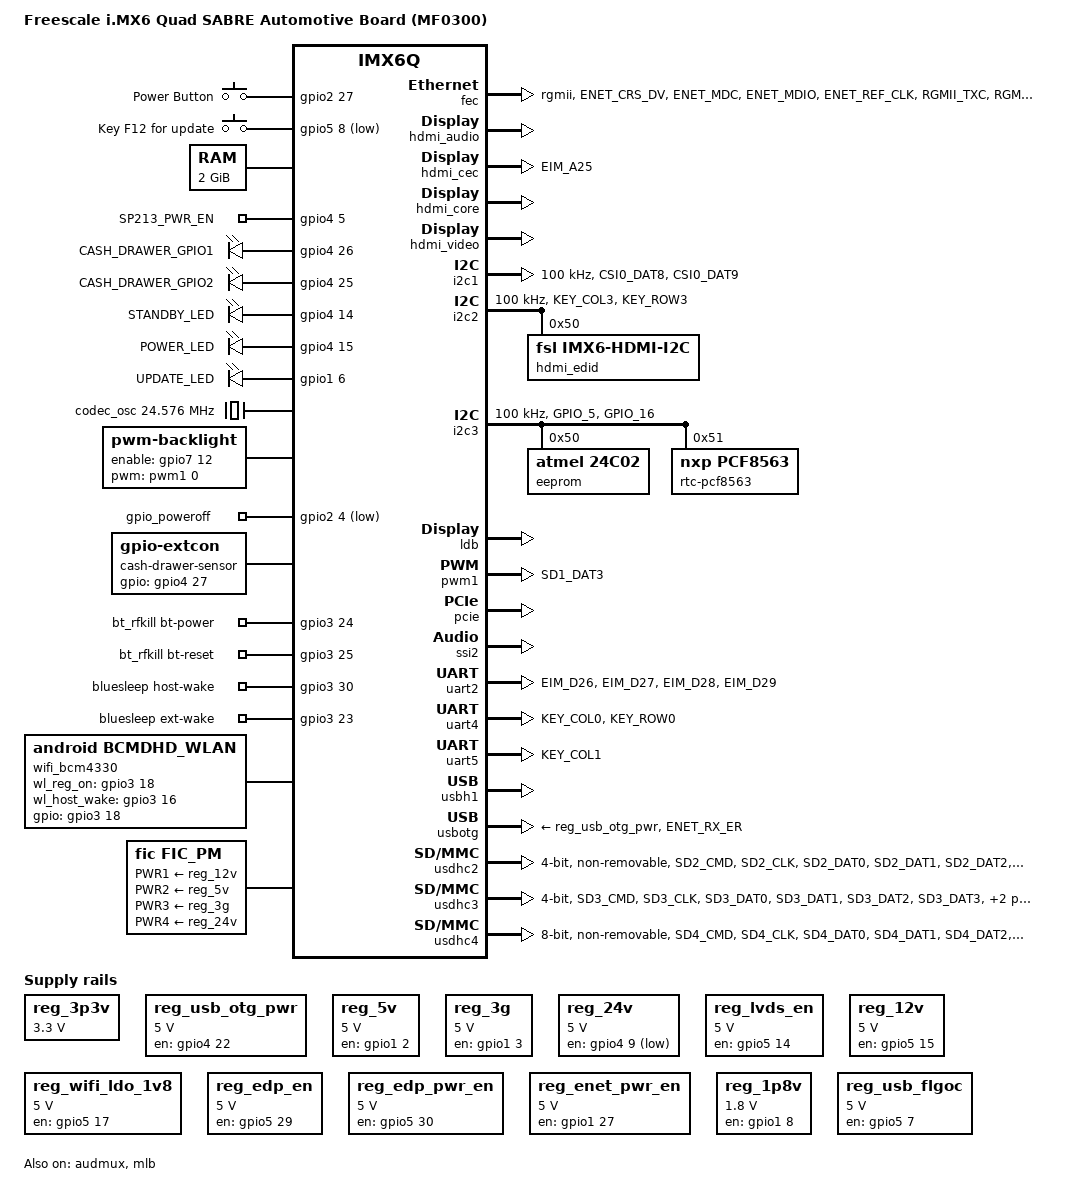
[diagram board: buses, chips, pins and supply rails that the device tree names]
/*
 * Copyright 2012-2015 Freescale Semiconductor, Inc.
 * Copyright 2011 Linaro Ltd.
 *
 * The code contained herein is licensed under the GNU General Public
 * License. You may obtain a copy of the GNU General Public License
 * Version 2 or later at the following locations:
 *
 * http://www.opensource.org/licenses/gpl-license.html
 * http://www.gnu.org/copyleft/gpl.html
 */

#include <dt-bindings/gpio/gpio.h>
#include <dt-bindings/input/input.h>

/ {

	model = "Freescale i.MX6 Quad SABRE Automotive Board (MF0300)";
	compatible = "fsl,imx6q-mf0300", "fsl,imx6q";

	aliases {
		mxcfb0 = &mxcfb1;
		mxcfb1 = &mxcfb2;
		mxcfb2 = &mxcfb3;
		mxcfb3 = &mxcfb4;
	};

	gpio-keys {
		compatible = "gpio-keys";
		pinctrl-names = "default";
		pinctrl-0 = <&pinctrl_gpio_keys>;

		/* Reconfig to power key in Android*/
		power {
			label = "Power Button";
			gpios = <&gpio2 27 GPIO_ACTIVE_HIGH>;
			linux,code = <116>; /* KEY_POWER */
			gpio-key,wakeup;
		};

		f12 {
			label = "Key F12 for update";
			gpios = <&gpio5 8 GPIO_ACTIVE_LOW>;
			linux,code = <KEY_F12>;
		};
	};

	memory:	memory {
		reg = <0x10000000 0x80000000>;
	};

	leds {
		compatible = "gpio-leds";
		pinctrl-names = "default";
		pinctrl-0 = <&pinctrl_gpio_leds>;

		sp213-en {
			label = "SP213_PWR_EN";
			gpios = <&gpio4 5 GPIO_ACTIVE_HIGH>;
		};

		cash-drawer-gpio1 {
			label = "CASH_DRAWER_GPIO1";
			gpios = <&gpio4 26 GPIO_ACTIVE_HIGH>;
			default-state = "on";
			retain-state-suspended;
		};

		cash-drawer-gpio2 {
			label = "CASH_DRAWER_GPIO2";
			gpios = <&gpio4 25 GPIO_ACTIVE_HIGH>;
			default-state = "on";
			retain-state-suspended;
		};

		stadnby-led {
			label = "STANDBY_LED";
			gpios = <&gpio4 14 GPIO_ACTIVE_HIGH>;
			default-state = "on";
			retain-state-suspended;
		};

		power-led {
			label = "POWER_LED";
			gpios = <&gpio4 15 GPIO_ACTIVE_HIGH>;
			default-state = "on";
			retain-state-suspended;
		};

		update-led {
			label = "UPDATE_LED";
			gpios = <&gpio1 6 GPIO_ACTIVE_HIGH>;
			default-state = "on";
			retain-state-suspended;
		};
	};

	clocks {
		codec_osc: anaclk2 {
			compatible = "fixed-clock";
			#clock-cells = <0>;
			clock-frequency = <24576000>;
		};
	};

	regulators {
		compatible = "simple-bus";
		#address-cells = <1>;
		#size-cells = <0>;

		reg_3p3v: 3p3v {
			compatible = "regulator-fixed";
			regulator-name = "3P3V";
			regulator-min-microvolt = <3300000>;
			regulator-max-microvolt = <3300000>;
			regulator-always-on;
		};

		reg_usb_otg_pwr: usb_otg_pwr@2 {
			compatible = "regulator-fixed";
			reg = <2>;
			regulator-name = "usb_otg_pwr";
			regulator-min-microvolt = <5000000>;
			regulator-max-microvolt = <5000000>;
			gpio = <&gpio4 22 GPIO_ACTIVE_HIGH>;
			enable-active-high;
		};

		reg_5v: 5v {
			compatible = "regulator-fixed";
			regulator-name = "5V";
			regulator-min-microvolt = <5000000>;
			regulator-max-microvolt = <5000000>;
			gpio = <&gpio1 2 GPIO_ACTIVE_HIGH>;
			enable-active-high;
			regulator-boot-on;
		};

		reg_3g: 3g {
			compatible = "regulator-fixed";
			regulator-name = "3G";
			regulator-min-microvolt = <5000000>;
			regulator-max-microvolt = <5000000>;
			gpio = <&gpio1 3 GPIO_ACTIVE_HIGH>;
			enable-active-high;
			regulator-boot-on;
		};

		reg_24v: 24v {
			compatible = "regulator-fixed";
			regulator-name = "24v";
			regulator-min-microvolt = <5000000>;
			regulator-max-microvolt = <5000000>;
			gpio = <&gpio4 9 GPIO_ACTIVE_HIGH>;
			regulator-boot-on;
		};

		reg_lvds_en: lvds_en {
			compatible = "regulator-fixed";
			regulator-name = "lvds-en";
			regulator-min-microvolt = <5000000>;
			regulator-max-microvolt = <5000000>;
			gpio = <&gpio5 14 GPIO_ACTIVE_HIGH>;
			enable-active-high;
			regulator-boot-on;
		};

		reg_12v: 12v {
			compatible = "regulator-fixed";
			regulator-name = "12v";
			regulator-min-microvolt = <5000000>;
			regulator-max-microvolt = <5000000>;
			gpio = <&gpio5 15 GPIO_ACTIVE_HIGH>;
			enable-active-high;
			regulator-boot-on;
		};

		reg_wifi_ldo_1v8: wifi_ldo_1v8 {
			compatible = "regulator-fixed";
			regulator-name = "wifi-ldo-1v8";
			regulator-min-microvolt = <5000000>;
			regulator-max-microvolt = <5000000>;
			gpio = <&gpio5 17 GPIO_ACTIVE_HIGH>;
			enable-active-high;
			regulator-boot-on;
		};

		reg_edp_en: enp_en {
			compatible = "regulator-fixed";
			regulator-name = "edp-en";
			regulator-min-microvolt = <5000000>;
			regulator-max-microvolt = <5000000>;
			gpio = <&gpio5 29 GPIO_ACTIVE_HIGH>;
			enable-active-high;
		};

		reg_edp_pwr_en: edp_pwr_en {
			compatible = "regulator-fixed";
			regulator-name = "edp-pwr-en";
			regulator-min-microvolt = <5000000>;
			regulator-max-microvolt = <5000000>;
			gpio = <&gpio5 30 GPIO_ACTIVE_HIGH>;
			enable-active-high;
		};

		reg_enet_pwr_en: enet_pwr_en {
			compatible = "regulator-fixed";
			regulator-name = "enet-pwr-en";
			regulator-min-microvolt = <5000000>;
			regulator-max-microvolt = <5000000>;
			gpio = <&gpio1 27 GPIO_ACTIVE_HIGH>;
			enable-active-high;
			regulator-boot-on;
		};

		reg_1p8v: 1p8v {
			compatible = "regulator-fixed";
			regulator-name = "1P8V";
			regulator-min-microvolt = <1800000>;
			regulator-max-microvolt = <1800000>;
			gpio = <&gpio1 8 GPIO_ACTIVE_HIGH>;
			enable-active-high;
			regulator-boot-on;
		};

		reg_usb_flgoc: usb_flgoc {
			compatible = "regulator-fixed";
			regulator-name = "usb_flgoc";
			regulator-min-microvolt = <5000000>;
			regulator-max-microvolt = <5000000>;
			gpio = <&gpio5 7 GPIO_ACTIVE_HIGH>;
			enable-active-high;
			regulator-boot-on;
		};
	};

	sound-hdmi {
		compatible = "fsl,imx6q-audio-hdmi",
			     "fsl,imx-audio-hdmi";
		model = "imx-audio-hdmi";
		hdmi-controller = <&hdmi_audio>;
	};

	mxcfb1: fb@0 {
		compatible = "fsl,mxc_sdc_fb";
		disp_dev = "ldb";
		interface_pix_fmt = "RGB666";
		default_bpp = <16>;
		int_clk = <0>;
		late_init = <0>;
		status = "okay";
	};

	mxcfb2: fb@1 {
		compatible = "fsl,mxc_sdc_fb";
		disp_dev = "hdmi";
		interface_pix_fmt = "RGB24";
		mode_str ="1920x1080M@60";
		default_bpp = <24>;
		int_clk = <0>;
		late_init = <0>;
		status = "okay";
	};

	mxcfb3: fb@2 {
		compatible = "fsl,mxc_sdc_fb";
		disp_dev = "lcd";
		interface_pix_fmt = "RGB565";
		mode_str ="CLAA-WVGA";
		default_bpp = <16>;
		int_clk = <0>;
		late_init = <0>;
		status = "disabled";
	};

	mxcfb4: fb@3 {
		compatible = "fsl,mxc_sdc_fb";
		disp_dev = "ldb";
		interface_pix_fmt = "RGB666";
		default_bpp = <16>;
		int_clk = <0>;
		late_init = <0>;
		status = "disabled";
	};

	backlight {
		compatible = "pwm-backlight";
		pwms = <&pwm1 0 10000>;
		brightness-levels = <
			0  /*1  2  3  4  5  6*/  7  8  9
			10 11 12 13 14 15 16 17 18 19
			20 21 22 23 24 25 26 27 28 29
			30 31 32 33 34 35 36 37 38 39
			40 41 42 43 44 45 46 47 48 49
			50 51 52 53 54 55 56 57 58 59
			60 61 62 63 64 65 66 67 68 69
			70 71 72 73 74 75 76 77 78 79
			80 81 82 83 84 85 86 87 88 89
			90 91 92 93 94 95 96 97 98 99
			100
			>;
		default-brightness-level = <94>;
		enable-gpios = <&gpio7 12 0>;
		status = "okay";
	};

	v4l2_cap_0 {
		compatible = "fsl,imx6q-v4l2-capture";
		ipu_id = <0>;
		csi_id = <0>;
		mclk_source = <0>;
		status = "okay";
	};

	v4l2_out {
		compatible = "fsl,mxc_v4l2_output";
		status = "okay";
	};

	gpio_poweroff {
		compatible = "gpio-poweroff";
		gpios = <&gpio2 4 1>;
	};

	cash-drawer-sensor {
		compatible = "gpio-extcon";
		gpios = <&gpio4 27 0>;
	};

	bt_rfkill {
		compatible = "broadcom,bcm_bt_rfkill";
		bt-power-gpios = <&gpio3 24 0>;
		bt-reset-gpios = <&gpio3 25 0>;
		status = "okay";
	};

	bluesleep {
		compatible = "imx,bcm4339_bluesleep";
		host-wake-gpio = <&gpio3 30 0>;
		ext-wake-gpio = <&gpio3 23 0>;
		status = "okay";
	};

	wifi_bcm4330 {
		compatible = "android,bcmdhd_wlan";
		wl_reg_on = <&gpio3 18 0>;
		wl_host_wake = <&gpio3 16 0>;
		gpios = <&gpio3 18 0>;
		status = "okay";
	};

	no_s3 {
		compatible = "fic,no_s3";
		status = "okay";
	};

	fic_pm {
		compatible = "fic,fic_pm";
		regulator-names = "PWR1", "PWR2", "PWR3", "PWR4",
				  "PWR5", "PWR6", "PWR7", "PWR8", "PWR9";
		PWR1-supply = <&reg_12v>;
		PWR2-supply = <&reg_5v>;
		PWR3-supply = <&reg_3g>;
		PWR4-supply = <&reg_24v>;
		PWR5-supply = <&reg_wifi_ldo_1v8>;
		PWR6-supply = <&reg_enet_pwr_en>;
		PWR7-supply = <&reg_1p8v>;
		PWR8-supply = <&reg_usb_flgoc>;
		PWR9-supply = <&reg_lvds_en>;
		status = "okay";
	};
};

&audmux {
	pinctrl-names = "default";
	pinctrl-0 = <&pinctrl_audmux>;
	status = "okay";
};

&fec {
	pinctrl-names = "default";
	pinctrl-0 = <&pinctrl_enet>;
	phy-mode = "rgmii";
	fsl,magic-packet;
	fsl,err006687-workaround-present;
	status = "okay";
};

&hdmi_audio {
	status = "okay";
};

&hdmi_cec {
	pinctrl-names = "default";
	pinctrl-0 = <&pinctrl_hdmi_cec>;
	status = "okay";
};

&hdmi_core {
	ipu_id = <0>;
	disp_id = <0>;
	status = "okay";
};

&hdmi_video {
	fsl,phy_reg_vlev = <0x0294>;
	fsl,phy_reg_cksymtx = <0x800d>;
	status = "okay";
};

&i2c1 {
	clock-frequency = <100000>;
	pinctrl-names = "default";
	pinctrl-0 = <&pinctrl_i2c1>;
	status = "okay";
};

&i2c2 {
	clock-frequency = <100000>;
	pinctrl-names = "default";
	pinctrl-0 = <&pinctrl_i2c2>;
	status = "okay";

	hdmi_edid: edid@50 {
		compatible = "fsl,imx6-hdmi-i2c";
		reg = <0x50>;
	};
};

&i2c3 {
	clock-frequency = <100000>;
	pinctrl-names = "default";
	pinctrl-0 = <&pinctrl_i2c3>;
	status = "okay";

	eeprom@50 {
		compatible = "atmel,24c02";
		reg = <0x50>;
	};

	rtc-pcf8563@51 {
		compatible = "nxp,pcf8563";
		reg = <0x51>;
	};
};

&iomuxc {
	pinctrl-names = "default";
	pinctrl-0 = <&pinctrl_hog>;

	imx6qdl-mf0300 {
                pinctrl_audmux: audmux {
                        fsl,pins = <
                                MX6QDL_PAD_CSI0_DAT7__AUD3_RXD  0x130b0
                                MX6QDL_PAD_CSI0_DAT4__AUD3_TXC  0x130b0
                                MX6QDL_PAD_CSI0_DAT5__AUD3_TXD  0x110b0
                                MX6QDL_PAD_CSI0_DAT6__AUD3_TXFS 0x130b0
                        >;
                };

		pinctrl_hog: hoggrp {
			fsl,pins = <
				MX6QDL_PAD_GPIO_2__GPIO1_IO02	   0x80000000
				MX6QDL_PAD_GPIO_3__GPIO1_IO03	   0x80000000
				MX6QDL_PAD_GPIO_4__GPIO1_IO04	   0x80000000
				MX6QDL_PAD_GPIO_7__GPIO1_IO07	   0x80000000
				MX6QDL_PAD_GPIO_8__GPIO1_IO08	   0x80000000
				MX6QDL_PAD_ENET_RXD1__GPIO1_IO26   0x80000000
				MX6QDL_PAD_ENET_RXD0__GPIO1_IO27   0x80000000
				MX6QDL_PAD_ENET_TX_EN__GPIO1_IO28  0x80000000
				MX6QDL_PAD_NANDF_D4__GPIO2_IO04    0x80000000
				MX6QDL_PAD_NANDF_D6__GPIO2_IO06    0x80000000
				MX6QDL_PAD_NANDF_D7__GPIO2_IO07    0x80000000
				MX6QDL_PAD_EIM_D16__GPIO3_IO16	   0x80000000
				MX6QDL_PAD_EIM_D18__GPIO3_IO18	   0x80000000
				MX6QDL_PAD_EIM_D23__GPIO3_IO23	   0x80000000
				MX6QDL_PAD_EIM_D24__GPIO3_IO24     0x80000000
				MX6QDL_PAD_EIM_D25__GPIO3_IO25	   0x80000000
				MX6QDL_PAD_EIM_D30__GPIO3_IO30	   0x80000000
				MX6QDL_PAD_KEY_ROW1__GPIO4_IO09    0x80000000
				MX6QDL_PAD_DISP0_DAT1__GPIO4_IO22  0x80000000
				MX6QDL_PAD_DISP0_DAT2__GPIO4_IO23  0x80000000
				MX6QDL_PAD_DISP0_DAT3__GPIO4_IO24  0x80000000
				MX6QDL_PAD_DISP0_DAT6__GPIO4_IO27  0x80000000
				MX6QDL_PAD_DISP0_DAT13__GPIO5_IO07 0x80000000
				MX6QDL_PAD_DISP0_DAT17__GPIO5_IO11 0x80000000
				MX6QDL_PAD_DISP0_DAT20__GPIO5_IO14 0x80000000
				MX6QDL_PAD_DISP0_DAT23__GPIO5_IO17 0x80000000
				MX6QDL_PAD_CSI0_DATA_EN__GPIO5_IO20 0x80000000
				MX6QDL_PAD_CSI0_DAT10__GPIO5_IO28  0x80000000
				MX6QDL_PAD_CSI0_DAT11__GPIO5_IO29  0x80000000
				MX6QDL_PAD_CSI0_DAT12__GPIO5_IO30  0x80000000
				MX6QDL_PAD_GPIO_17__GPIO7_IO12	   0x80000000
				MX6QDL_PAD_GPIO_18__GPIO7_IO13	   0x80000000
			>;
		};

		pinctrl_enet: enetgrp {
			fsl,pins = <
				MX6QDL_PAD_ENET_CRS_DV__ENET_RX_EN    0x1b0b0
				MX6QDL_PAD_ENET_MDC__ENET_MDC         0x1b0b0
				MX6QDL_PAD_ENET_MDIO__ENET_MDIO       0x1b0b0
				MX6QDL_PAD_ENET_REF_CLK__ENET_TX_CLK  0x1b0b0
				MX6QDL_PAD_RGMII_TXC__RGMII_TXC       0x1b0b0
				MX6QDL_PAD_RGMII_TD0__RGMII_TD0       0x1b0b0
				MX6QDL_PAD_RGMII_TD1__RGMII_TD1       0x1b0b0
				MX6QDL_PAD_RGMII_TD2__RGMII_TD2       0x1b0b0
				MX6QDL_PAD_RGMII_TD3__RGMII_TD3       0x1b0b0
				MX6QDL_PAD_RGMII_TX_CTL__RGMII_TX_CTL 0x1b0b0
				MX6QDL_PAD_RGMII_RXC__RGMII_RXC       0x1b0b0
				MX6QDL_PAD_RGMII_RD0__RGMII_RD0       0x1b0b0
				MX6QDL_PAD_RGMII_RD1__RGMII_RD1       0x1b0b0
				MX6QDL_PAD_RGMII_RD2__RGMII_RD2       0x1b0b0
				MX6QDL_PAD_RGMII_RD3__RGMII_RD3       0x1b0b0
				MX6QDL_PAD_RGMII_RX_CTL__RGMII_RX_CTL 0x1b0b0
			>;
		};

		pinctrl_enet_irq: enetirqgrp {
			fsl,pins = <
				MX6QDL_PAD_GPIO_6__ENET_IRQ		0x000b1
			>;
		};

		pinctrl_gpio_keys: gpio_keysgrp {
			fsl,pins = <
				MX6QDL_PAD_EIM_LBA__GPIO2_IO27	   0x80000000
				MX6QDL_PAD_DISP0_DAT14__GPIO5_IO08 0x80000000
			>;
		};

		pinctrl_gpio_leds: gpioledsgrp {
			fsl,pins = <
				MX6QDL_PAD_DISP0_DAT21__GPIO5_IO15	0x80000000
				MX6QDL_PAD_GPIO_19__GPIO4_IO05	    0x80000000
				MX6QDL_PAD_DISP0_DAT5__GPIO4_IO26   0x80000000
				MX6QDL_PAD_DISP0_DAT4__GPIO4_IO25   0x80000000
				MX6QDL_PAD_KEY_COL4__GPIO4_IO14	    0x80000000
				MX6QDL_PAD_KEY_ROW4__GPIO4_IO15     0x80000000
				MX6QDL_PAD_GPIO_6__GPIO1_IO06	    0x80000000
			>;
		};

		pinctrl_i2c1: i2c1grp {
			fsl,pins = <
				MX6QDL_PAD_CSI0_DAT8__I2C1_SDA 0x4001b8b1
				MX6QDL_PAD_CSI0_DAT9__I2C1_SCL 0x4001b8b1
			>;
		};

		pinctrl_i2c2: i2c2grp {
			fsl,pins = <
				MX6QDL_PAD_KEY_COL3__I2C2_SCL	0x4001b8b1
				MX6QDL_PAD_KEY_ROW3__I2C2_SDA	0x4001b8b1
			>;
		};

		pinctrl_i2c3: i2c3grp {
			fsl,pins = <
				MX6QDL_PAD_GPIO_5__I2C3_SCL  0x4001b8b1
				MX6QDL_PAD_GPIO_16__I2C3_SDA 0x4001b8b1
			>;
		};

		pinctrl_mlb: mlb {
			fsl,pins = <
				MX6QDL_PAD_ENET_TXD1__MLB_CLK 0x80000000
			>;
		};

		pinctrl_pwm1: pwm1grp {
			fsl,pins = <
				MX6QDL_PAD_SD1_DAT3__PWM1_OUT		0x1b0b1
			>;
		};

		pinctrl_uart2: uart2grp {
			fsl,pins = <
				MX6QDL_PAD_EIM_D26__UART2_TX_DATA   0x1b0b1
				MX6QDL_PAD_EIM_D27__UART2_RX_DATA   0x1b0b1
				MX6QDL_PAD_EIM_D28__UART2_CTS_B 0x1b0b1
				MX6QDL_PAD_EIM_D29__UART2_RTS_B 0x1b0b1
			>;
		};

		pinctrl_uart4: uart4grp {
			fsl,pins = <
				MX6QDL_PAD_KEY_COL0__UART4_TX_DATA	0x1b0b1
				MX6QDL_PAD_KEY_ROW0__UART4_RX_DATA	0x1b0b1
			>;
		};

		pinctrl_uart5: uart5grp {
			fsl,pins = <
				MX6QDL_PAD_KEY_COL1__UART5_TX_DATA 0x1b0b1
			>;
		};

		pinctrl_usbotg: usbotggrp {
			fsl,pins = <
				MX6QDL_PAD_ENET_RX_ER__USB_OTG_ID 0x17059
			>;
		};

		pinctrl_usdhc2: usdhc2grp {
			fsl,pins = <
				MX6QDL_PAD_SD2_CMD__SD2_CMD    0x17059
				MX6QDL_PAD_SD2_CLK__SD2_CLK    0x10059
				MX6QDL_PAD_SD2_DAT0__SD2_DATA0 0x17059
				MX6QDL_PAD_SD2_DAT1__SD2_DATA1 0x17059
				MX6QDL_PAD_SD2_DAT2__SD2_DATA2 0x17059
				MX6QDL_PAD_SD2_DAT3__SD2_DATA3 0x17059
			>;
		};

		pinctrl_usdhc3: usdhc3grp {
			fsl,pins = <
				MX6QDL_PAD_SD3_CMD__SD3_CMD		0x17059
				MX6QDL_PAD_SD3_CLK__SD3_CLK		0x10059
				MX6QDL_PAD_SD3_DAT0__SD3_DATA0		0x17059
				MX6QDL_PAD_SD3_DAT1__SD3_DATA1		0x17059
				MX6QDL_PAD_SD3_DAT2__SD3_DATA2		0x17059
				MX6QDL_PAD_SD3_DAT3__SD3_DATA3		0x17059
			>;
		};

		pinctrl_usdhc4: usdhc4grp {
			fsl,pins = <
				MX6QDL_PAD_SD4_CMD__SD4_CMD    0x17059
				MX6QDL_PAD_SD4_CLK__SD4_CLK    0x10059
				MX6QDL_PAD_SD4_DAT0__SD4_DATA0 0x17059
				MX6QDL_PAD_SD4_DAT1__SD4_DATA1 0x17059
				MX6QDL_PAD_SD4_DAT2__SD4_DATA2 0x17059
				MX6QDL_PAD_SD4_DAT3__SD4_DATA3 0x17059
				MX6QDL_PAD_SD4_DAT4__SD4_DATA4 0x17059
				MX6QDL_PAD_SD4_DAT5__SD4_DATA5 0x17059
				MX6QDL_PAD_SD4_DAT6__SD4_DATA6 0x17059
				MX6QDL_PAD_SD4_DAT7__SD4_DATA7 0x17059
			>;
		};

		pinctrl_weim_cs0: weimcs0grp {
			fsl,pins = <
				MX6QDL_PAD_EIM_CS0__EIM_CS0_B		0xb0b1
			>;
		};

		pinctrl_weim_nor: weimnorgrp {
			fsl,pins = <
				MX6QDL_PAD_EIM_OE__EIM_OE_B		0xb0b1
				MX6QDL_PAD_EIM_RW__EIM_RW		0xb0b1
				MX6QDL_PAD_EIM_WAIT__EIM_WAIT_B		0xb060
				MX6QDL_PAD_EIM_D16__EIM_DATA16		0x1b0b0
				MX6QDL_PAD_EIM_D17__EIM_DATA17		0x1b0b0
				MX6QDL_PAD_EIM_D18__EIM_DATA18		0x1b0b0
				MX6QDL_PAD_EIM_D19__EIM_DATA19		0x1b0b0
				MX6QDL_PAD_EIM_D20__EIM_DATA20		0x1b0b0
				MX6QDL_PAD_EIM_D21__EIM_DATA21		0x1b0b0
				MX6QDL_PAD_EIM_D22__EIM_DATA22		0x1b0b0
				MX6QDL_PAD_EIM_D23__EIM_DATA23		0x1b0b0
				MX6QDL_PAD_EIM_D24__EIM_DATA24		0x1b0b0
				MX6QDL_PAD_EIM_D25__EIM_DATA25		0x1b0b0
				MX6QDL_PAD_EIM_D26__EIM_DATA26		0x1b0b0
				MX6QDL_PAD_EIM_D27__EIM_DATA27		0x1b0b0
				MX6QDL_PAD_EIM_D28__EIM_DATA28		0x1b0b0
				MX6QDL_PAD_EIM_D29__EIM_DATA29		0x1b0b0
				MX6QDL_PAD_EIM_D30__EIM_DATA30		0x1b0b0
				MX6QDL_PAD_EIM_D31__EIM_DATA31		0x1b0b0
				MX6QDL_PAD_EIM_A23__EIM_ADDR23		0xb0b1
				MX6QDL_PAD_EIM_A22__EIM_ADDR22		0xb0b1
				MX6QDL_PAD_EIM_A21__EIM_ADDR21		0xb0b1
				MX6QDL_PAD_EIM_A20__EIM_ADDR20		0xb0b1
				MX6QDL_PAD_EIM_A19__EIM_ADDR19		0xb0b1
				MX6QDL_PAD_EIM_A18__EIM_ADDR18		0xb0b1
				MX6QDL_PAD_EIM_A17__EIM_ADDR17		0xb0b1
				MX6QDL_PAD_EIM_A16__EIM_ADDR16		0xb0b1
				MX6QDL_PAD_EIM_DA15__EIM_AD15		0xb0b1
				MX6QDL_PAD_EIM_DA14__EIM_AD14		0xb0b1
				MX6QDL_PAD_EIM_DA13__EIM_AD13		0xb0b1
				MX6QDL_PAD_EIM_DA12__EIM_AD12		0xb0b1
				MX6QDL_PAD_EIM_DA11__EIM_AD11		0xb0b1
				MX6QDL_PAD_EIM_DA10__EIM_AD10		0xb0b1
				MX6QDL_PAD_EIM_DA9__EIM_AD09		0xb0b1
				MX6QDL_PAD_EIM_DA8__EIM_AD08		0xb0b1
				MX6QDL_PAD_EIM_DA7__EIM_AD07		0xb0b1
				MX6QDL_PAD_EIM_DA6__EIM_AD06		0xb0b1
				MX6QDL_PAD_EIM_DA5__EIM_AD05		0xb0b1
				MX6QDL_PAD_EIM_DA4__EIM_AD04		0xb0b1
				MX6QDL_PAD_EIM_DA3__EIM_AD03		0xb0b1
				MX6QDL_PAD_EIM_DA2__EIM_AD02		0xb0b1
				MX6QDL_PAD_EIM_DA1__EIM_AD01		0xb0b1
				MX6QDL_PAD_EIM_DA0__EIM_AD00		0xb0b1
			>;
		};

		pinctrl_hdmi_cec: hdmicecgrp {
			fsl,pins = <
				MX6QDL_PAD_EIM_A25__HDMI_TX_CEC_LINE 0x1f8b0
			>;
		};
	};
};

&ldb {
	status = "okay";

	lvds-channel@0 {
		fsl,data-mapping = "spwg";
		fsl,data-width = <18>;
		crtc = "ipu2-di0";
		primary;
		status = "disabled";
	};

	lvds-channel@1 {
		fsl,data-mapping = "spwg";
		fsl,data-width = <18>;
		crtc = "ipu2-di1";
		status = "disabled";
	};
};

&mlb {
	pinctrl-names = "default";
	pinctrl-0 = <&pinctrl_mlb>;
	status = "okay";
};

&pwm1 {
	pinctrl-names = "default";
	pinctrl-0 = <&pinctrl_pwm1>;
	status = "okay";
};

&pcie {
	status = "okay";
};

&ssi2 {
	assigned-clocks = <&clks IMX6QDL_CLK_SSI2_SEL>;
	assigned-clock-parents = <&clks IMX6QDL_CLK_PLL4_AUDIO_DIV>;
	assigned-clock-rates = <0>;
	fsl,mode = "i2s-master";
	status = "okay";
};

&uart2 {
	pinctrl-names = "default";
	pinctrl-0 = <&pinctrl_uart2>;
	fsl,uart-has-rtscts;
	status = "okay";
};

&uart4 {
	pinctrl-names = "default";
	pinctrl-0 = <&pinctrl_uart4>;
	status = "okay";
};

&uart5 {
	pinctrl-names = "default";
	pinctrl-0 = <&pinctrl_uart5>;
	status = "okay";
};

&usbh1 {
	status = "okay";
};

&usbotg {
	vbus-supply = <&reg_usb_otg_pwr>;
	pinctrl-names = "default";
	pinctrl-0 = <&pinctrl_usbotg>;
	srp-disable;
	hnp-disable;
	adp-disable;
	status = "okay";
};

&usdhc2 {
	pinctrl-names = "default";
	pinctrl-0 = <&pinctrl_usdhc2>;
	bus-width = <4>;
	non-removable;
	keep-power-in-suspend;
	supports-sdio;
	status = "okay";
};

&usdhc3 {
	pinctrl-names = "default";
	pinctrl-0 = <&pinctrl_usdhc3>;
	cd-gpios = <&gpio2 6 GPIO_ACTIVE_LOW>;
	wp-gpios = <&gpio2 7 GPIO_ACTIVE_HIGH>;
	bus-width = <4>;
	/*
	 * Due to board issue, we can not use external regulator for card slot
	 * by default since the card power is shared with card detect pullup.
	 * Disabling the vmmc regulator will cause unexpected card detect
	 * interrupts.
	 * HW rework is needed to fix this isssue. Remove R695 first, then you
	 * can open below line to enable the using of external regulator.
	 * Then you will be able to power off the card during suspend. This is
	 * especially needed for a SD3.0 card re-enumeration working on UHS mode
	 * Note: reg_sd3_vmmc is also need to be enabled
	 */
	/* vmmc-supply = <&reg_sd3_vmmc>; */
	keep-power-in-suspend;
	enable-sdio-wakeup;
	status = "okay";
};

&usdhc4 {
	pinctrl-names = "default";
	pinctrl-0 = <&pinctrl_usdhc4>;
	bus-width = <8>;
	non-removable;
	no-1-8-v;
	keep-power-in-suspend;
	status = "okay";
};

&weim {
	pinctrl-names = "default";
	pinctrl-0 = <&pinctrl_weim_nor &pinctrl_weim_cs0>;
	#address-cells = <2>;
	#size-cells = <1>;
	ranges = <0 0 0x08000000 0x08000000>;
	status = "disabled"; /* pin conflict with SPI NOR */

	nor@0,0 {
		compatible = "cfi-flash";
		reg = <0 0 0x02000000>;
		#address-cells = <1>;
		#size-cells = <1>;
		bank-width = <2>;
		fsl,weim-cs-timing = <0x00620081 0x00000001 0x1c022000
				0x0000c000 0x1404a38e 0x00000000>;
	};
};
